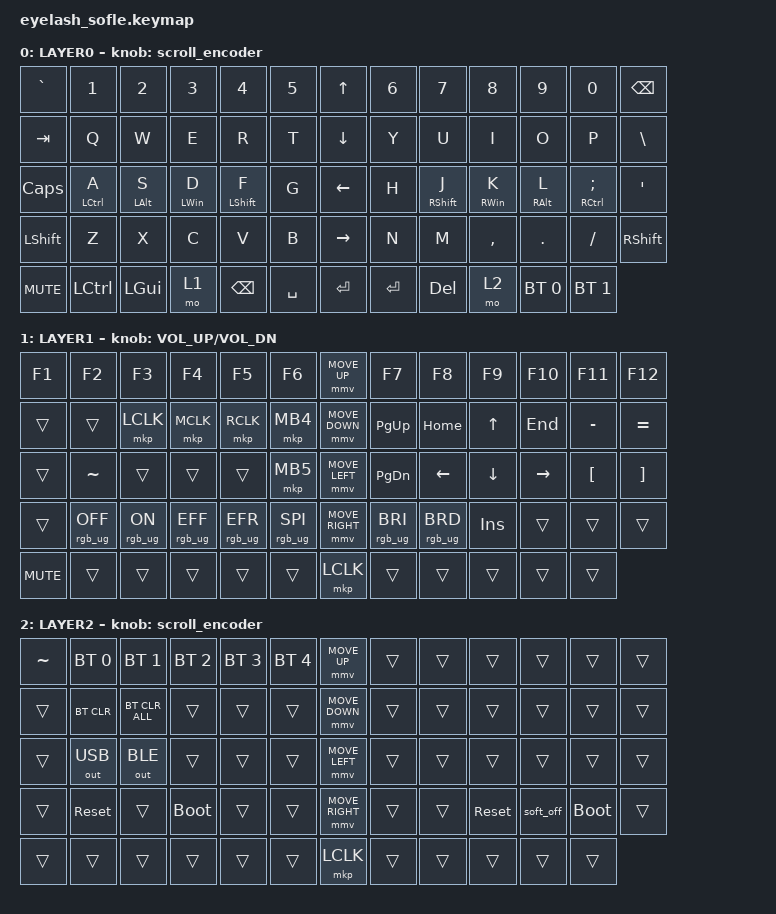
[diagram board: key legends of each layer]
#define ZMK_POINTING_DEFAULT_MOVE_VAL 1200  // 600
#define ZMK_POINTING_DEFAULT_SCRL_VAL 25   // 10

#include <input/processors.dtsi>
#include <zephyr/dt-bindings/input/input-event-codes.h>
#include <behaviors.dtsi>
#include <dt-bindings/zmk/bt.h>
#include <dt-bindings/zmk/keys.h>
#include <dt-bindings/zmk/outputs.h>
#include <dt-bindings/zmk/pointing.h>
#include <dt-bindings/zmk/rgb.h>

&mmv_input_listener { input-processors = <&zip_xy_scaler 2 1>; };

&msc_input_listener { input-processors = <&zip_scroll_scaler 2 1>; };

&msc {
    acceleration-exponent = <1>;      // 0
    time-to-max-speed-ms = <100>;       // 300
    delay-ms = <0>;                   // 0
};

&mmv {
    time-to-max-speed-ms = <500>;
    acceleration-exponent = <1>;
    trigger-period-ms = <16>;
};

&soft_off { hold-time-ms = <2000>; };

/ {
    scroll_encoder: scroll_encoder {
        compatible = "zmk,behavior-sensor-rotate";
        #sensor-binding-cells = <0>;
        bindings = <&msc SCRL_DOWN>, <&msc SCRL_UP>;

        tap-ms = <100>;
    };

    hm: homerow_mods {
        compatible = "zmk,behavior-hold-tap";
        label = "HOMEROW_MODS";
        bindings = <&kp>, <&kp>;

        #binding-cells = <2>;
        tapping-term-ms = <200>;
        quick-tap-ms = <130>;
        flavor = "tap-preferred";
    };

    behaviors {
    };

    combos {
        compatible = "zmk,combos";

        softoff {
            bindings = <&soft_off>;
            key-positions = <14 28 40>;
        };

        esc {
            bindings = <&kp ESC>;
            key-positions = <0 1>;
        };

        enter {
            bindings = <&kp ENTER>;
            key-positions = <34 35>;
        };

        back {
            bindings = <&kp BACKSPACE>;
            key-positions = <29 30>;
        };
    };

    keymap {
        compatible = "zmk,keymap";

        layer0 {
            bindings = <
&kp GRAVE   &kp N1              &kp N2        &kp N3          &kp N4            &kp N5       &kp UP_ARROW     &kp N6   &kp N7             &kp N8           &kp N9           &kp N0                       &kp BACKSPACE
&kp TAB     &kp Q               &kp W         &kp E           &kp R             &kp T        &kp DOWN_ARROW   &kp Y    &kp U              &kp I            &kp O            &kp P                        &kp BSLH
&kp CAPS    &hm LEFT_CONTROL A  &hm LALT S    &hm LEFT_WIN D  &hm LEFT_SHIFT F  &kp G        &kp LEFT_ARROW   &kp H    &hm RIGHT_SHIFT J  &hm RIGHT_WIN K  &hm RIGHT_ALT L  &hm RIGHT_CONTROL SEMICOLON  &kp APOS
&kp LSHFT   &kp Z               &kp X         &kp C           &kp V             &kp B        &kp RIGHT_ARROW  &kp N    &kp M              &kp COMMA        &kp DOT          &kp FSLH                     &kp RSHIFT
&kp C_MUTE  &kp LCTRL           &kp LEFT_GUI  &mo 1           &kp BSPC          &kp SPACE    &kp ENTER        &kp RET  &kp DEL            &mo 2            &bt BT_SEL 0     &bt BT_SEL 1
            >;

            sensor-bindings = <&scroll_encoder>;
            display-name = "LAYER0";
        };

        layer_1 {
            bindings = <
&kp F1      &kp F2           &kp F3          &kp F4           &kp F5           &kp F6             &mmv MOVE_UP     &kp F7           &kp F8           &kp F9      &kp F10    &kp F11           &kp F12
&trans      &trans           &mkp LCLK       &mkp MCLK        &mkp RCLK        &mkp MB4           &mmv MOVE_DOWN   &kp PG_UP        &kp HOME         &kp UP      &kp END    &kp MINUS         &kp EQUAL
&trans      &kp TILDE        &trans          &trans           &trans           &mkp MB5           &mmv MOVE_LEFT   &kp PG_DN        &kp LEFT         &kp DOWN    &kp RIGHT  &kp LEFT_BRACKET  &kp RIGHT_BRACKET
&trans      &rgb_ug RGB_OFF  &rgb_ug RGB_ON  &rgb_ug RGB_EFF  &rgb_ug RGB_EFR  &rgb_ug RGB_SPI    &mmv MOVE_RIGHT  &rgb_ug RGB_BRI  &rgb_ug RGB_BRD  &kp INSERT  &trans     &trans            &trans
&kp C_MUTE  &trans           &trans          &trans           &trans           &trans             &mkp LCLK        &trans           &trans           &trans      &trans     &trans
            >;

            sensor-bindings = <&inc_dec_kp C_VOLUME_UP C_VOL_DN>;
            display-name = "LAYER1";
        };

        layer_2 {
            bindings = <
&kp TILDE  &bt BT_SEL 0  &bt BT_SEL 1    &bt BT_SEL 2  &bt BT_SEL 3  &bt BT_SEL 4    &mmv MOVE_UP     &trans  &trans  &trans      &trans     &trans       &trans
&trans     &bt BT_CLR    &bt BT_CLR_ALL  &trans        &trans        &trans          &mmv MOVE_DOWN   &trans  &trans  &trans      &trans     &trans       &trans
&trans     &out OUT_USB  &out OUT_BLE    &trans        &trans        &trans          &mmv MOVE_LEFT   &trans  &trans  &trans      &trans     &trans       &trans
&trans     &sys_reset    &trans          &bootloader   &trans        &trans          &mmv MOVE_RIGHT  &trans  &trans  &sys_reset  &soft_off  &bootloader  &trans
&trans     &trans        &trans          &trans        &trans        &trans          &mkp LCLK        &trans  &trans  &trans      &trans     &trans
            >;

            display-name = "LAYER2";
            sensor-bindings = <&scroll_encoder>;
        };
    };
};
